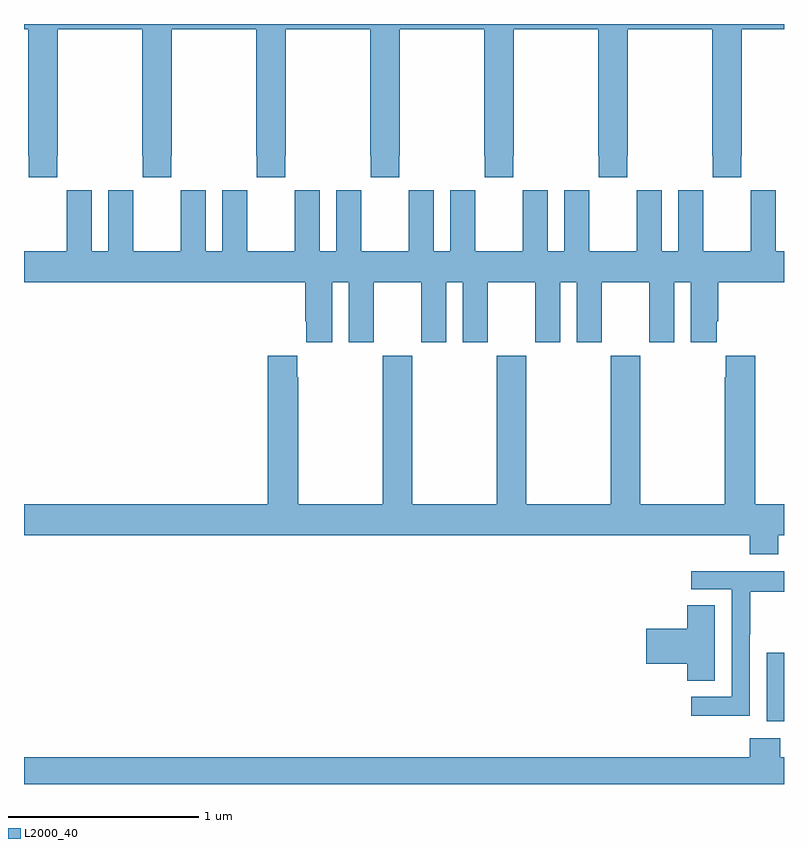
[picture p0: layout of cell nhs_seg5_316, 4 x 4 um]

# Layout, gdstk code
import gdstk
lib = gdstk.Library(unit=1e-6, precision=1e-09)
def R(c, l, rs):  # rectangles x0, y0, x1, y1
    for r in rs: c.add(gdstk.rectangle(r[:2], r[2:], *l))
def P(c, l, *ps):  # polygons
    for p in ps: c.add(gdstk.Polygon(p, *l))
L2000_40 = (2000, 40)

nhs_seg5_316 = lib.new_cell('nhs_seg5_316')
R(nhs_seg5_316, L2000_40, [(134.909,841.13,135,841.491)])
P(nhs_seg5_316, L2000_40, [(131.175,844.105),(131.178,844.105),(131.178,844.772),(131.623,844.772),(131.623,844.105),(131.625,844.105),(131.625,843.993),(131.775,843.993),(131.775,844.105),(131.778,844.105),(131.778,844.772),(132.223,844.772),(132.223,844.105),(132.225,844.105),(132.225,843.993),(132.375,843.993),(132.375,844.105),(132.378,844.105),(132.378,844.772),(132.823,844.772),(132.823,844.105),(132.825,844.105),(132.825,843.993),(132.975,843.993),(132.975,844.105),(132.978,844.105),(132.978,844.772),(133.423,844.772),(133.423,844.105),(133.425,844.105),(133.425,843.993),(133.575,843.993),(133.575,844.105),(133.578,844.105),(133.578,844.772),(134.023,844.772),(134.023,844.105),(134.025,844.105),(134.025,843.993),(134.175,843.993),(134.175,844.105),(134.178,844.105),(134.178,844.772),(134.623,844.772),(134.623,844.105),(134.625,844.105),(134.625,843.993),(134.775,843.993),(134.775,844.105),(134.778,844.105),(134.778,844.772),(135,844.772),(135,844.799),(131,844.799),(131,844.772),(131.023,844.772),(131.023,844.105),(131.025,844.105),(131.025,843.993),(131.175,843.993)],
  [(133.844,843.925),(133.844,843.604),(133.756,843.604),(133.756,843.925),(133.626,843.925),(133.626,843.812),(133.625,843.812),(133.625,843.604),(133.375,843.604),(133.375,843.812),(133.374,843.812),(133.374,843.925),(133.244,843.925),(133.244,843.604),(133.156,843.604),(133.156,843.925),(133.026,843.925),(133.026,843.812),(133.025,843.812),(133.025,843.604),(132.775,843.604),(132.775,843.812),(132.774,843.812),(132.774,843.925),(132.644,843.925),(132.644,843.604),(132.556,843.604),(132.556,843.925),(132.426,843.925),(132.426,843.812),(132.425,843.812),(132.425,843.604),(132.175,843.604),(132.175,843.812),(132.174,843.812),(132.174,843.925),(132.044,843.925),(132.044,843.604),(131.956,843.604),(131.956,843.925),(131.826,843.925),(131.826,843.812),(131.825,843.812),(131.825,843.604),(131.575,843.604),(131.575,843.812),(131.574,843.812),(131.574,843.925),(131.444,843.925),(131.444,843.604),(131.356,843.604),(131.356,843.925),(131.226,843.925),(131.226,843.812),(131.225,843.812),(131.225,843.604),(131,843.604),(131,843.44),(132.479,843.44),(132.479,843.235),(132.485,843.235),(132.485,843.123),(132.622,843.123),(132.622,843.44),(132.71,843.44),(132.71,843.123),(132.841,843.123),(132.841,843.44),(133.091,843.44),(133.091,843.123),(133.222,843.123),(133.222,843.44),(133.31,843.44),(133.31,843.123),(133.441,843.123),(133.441,843.44),(133.691,843.44),(133.691,843.123),(133.822,843.123),(133.822,843.44),(133.91,843.44),(133.91,843.123),(134.041,843.123),(134.041,843.44),(134.291,843.44),(134.291,843.123),(134.422,843.123),(134.422,843.44),(134.51,843.44),(134.51,843.123),(134.647,843.123),(134.647,843.235),(134.654,843.235),(134.654,843.44),(135,843.44),(135,843.604),(134.956,843.604),(134.956,843.925),(134.826,843.925),(134.826,843.812),(134.825,843.812),(134.825,843.604),(134.575,843.604),(134.575,843.812),(134.574,843.812),(134.574,843.925),(134.444,843.925),(134.444,843.604),(134.356,843.604),(134.356,843.925),(134.226,843.925),(134.226,843.812),(134.225,843.812),(134.225,843.604),(133.975,843.604),(133.975,843.812),(133.974,843.812),(133.974,843.925)],
  [(134.971,842.108),(135,842.108),(135,842.272),(134.849,842.272),(134.849,843.052),(134.693,843.052),(134.693,842.939),(134.689,842.939),(134.689,842.272),(134.244,842.272),(134.244,843.052),(134.089,843.052),(134.089,842.272),(133.644,842.272),(133.644,843.052),(133.489,843.052),(133.489,842.272),(133.044,842.272),(133.044,843.052),(132.889,843.052),(132.889,842.272),(132.444,842.272),(132.444,842.939),(132.439,842.939),(132.439,843.052),(132.284,843.052),(132.284,842.272),(131,842.272),(131,842.108),(134.819,842.108),(134.819,842.009),(134.971,842.009)],
  [(134.82,841.588),(134.823,841.588),(134.823,841.812),(135,841.812),(135,841.92),(134.511,841.92),(134.511,841.824),(134.724,841.824),(134.724,841.257),(134.511,841.257),(134.511,841.159),(134.82,841.159)],
  [(134.635,841.739),(134.492,841.739),(134.492,841.616),(134.274,841.616),(134.274,841.433),(134.492,841.433),(134.492,841.342),(134.635,841.342)],
  [(135,840.94),(134.979,840.94),(134.979,841.039),(134.819,841.039),(134.819,840.94),(131,840.94),(131,840.799),(135,840.799)])

lib.write_gds('nhs_seg5_316.gds')
